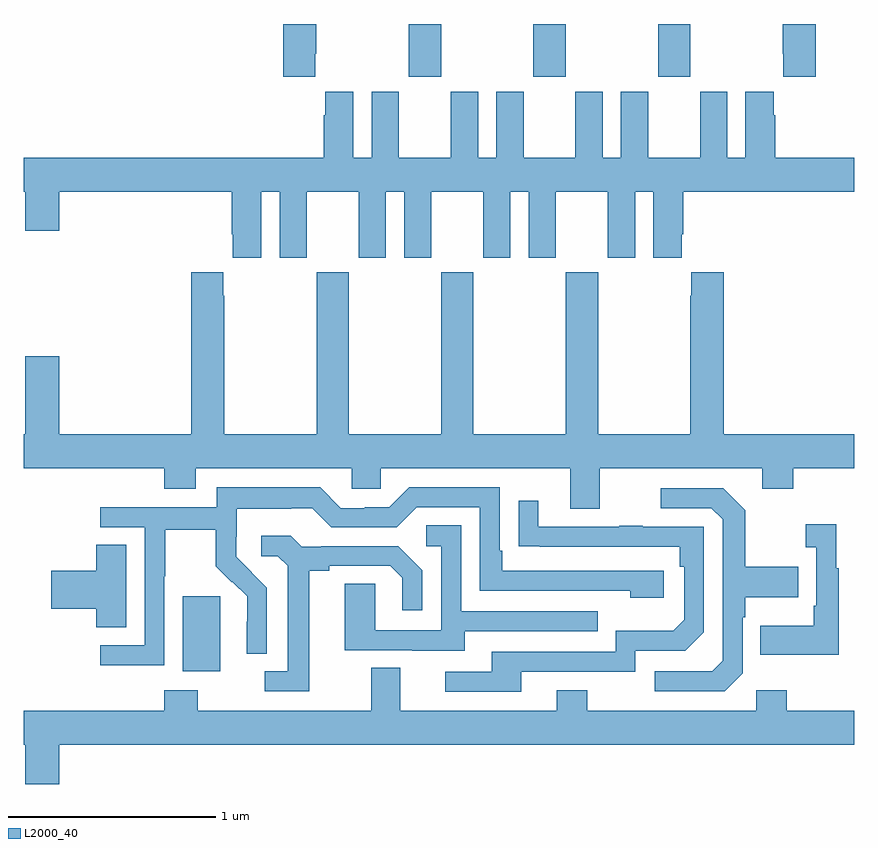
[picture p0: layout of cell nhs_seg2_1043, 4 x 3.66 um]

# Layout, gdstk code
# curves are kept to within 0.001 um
import gdstk
lib = gdstk.Library(unit=1e-6, precision=1e-09)
def R(c, l, rs):  # rectangles x0, y0, x1, y1
    for r in rs: c.add(gdstk.rectangle(r[:2], r[2:], *l))
def A(c, l, x, y, w, h, nx, ny, dx, dy):  # array of equal rectangles
    R(c, l, [(x+i*dx, y+j*dy, x+i*dx+w, y+j*dy+h) for i in range(nx) for j in range(ny)])
def P(c, l, *ps):  # polygons
    for p in ps: c.add(gdstk.Polygon(p, *l))
L2000_40 = (2000, 40)

nhs_seg2_1043 = lib.new_cell('nhs_seg2_1043')
A(nhs_seg2_1043, L2000_40, 166.855, 625.545, 0.155, 0.255, 3, 1, 0.6, 0)
R(nhs_seg2_1043, L2000_40, [(165.767,622.682,165.946,623.043)])
P(nhs_seg2_1043, L2000_40, [(168.815,625.8),(168.655,625.8),(168.655,625.657),(168.659,625.657),(168.659,625.545),(168.815,625.545)],
  [(166.405,625.657),(166.41,625.657),(166.41,625.8),(166.25,625.8),(166.25,625.545),(166.405,625.545)],
  [(166.144,624.992),(166.232,624.992),(166.232,624.675),(166.363,624.675),(166.363,624.992),(166.613,624.992),(166.613,624.675),(166.744,624.675),(166.744,624.992),(166.832,624.992),(166.832,624.675),(166.963,624.675),(166.963,624.992),(167.213,624.992),(167.213,624.675),(167.344,624.675),(167.344,624.992),(167.432,624.992),(167.432,624.675),(167.563,624.675),(167.563,624.992),(167.813,624.992),(167.813,624.675),(167.944,624.675),(167.944,624.992),(168.032,624.992),(168.032,624.675),(168.169,624.675),(168.169,624.787),(168.176,624.787),(168.176,624.992),(169,624.992),(169,625.156),(168.62,625.156),(168.62,625.361),(168.613,625.361),(168.613,625.474),(168.476,625.474),(168.476,625.156),(168.388,625.156),(168.388,625.474),(168.257,625.474),(168.257,625.156),(168.007,625.156),(168.007,625.474),(167.876,625.474),(167.876,625.156),(167.788,625.156),(167.788,625.474),(167.657,625.474),(167.657,625.156),(167.407,625.156),(167.407,625.474),(167.276,625.474),(167.276,625.156),(167.188,625.156),(167.188,625.474),(167.057,625.474),(167.057,625.156),(166.807,625.156),(166.807,625.474),(166.676,625.474),(166.676,625.156),(166.588,625.156),(166.588,625.474),(166.451,625.474),(166.451,625.361),(166.445,625.361),(166.445,625.156),(165,625.156),(165,624.992),(165.008,624.992),(165.008,624.804),(165.172,624.804),(165.172,624.992),(166.001,624.992),(166.001,624.787),(166.007,624.787),(166.007,624.675),(166.144,624.675)],
  [(167.773,623.66),(168.557,623.66),(168.557,623.561),(168.705,623.561),(168.705,623.66),(169,623.66),(169,623.824),(168.371,623.824),(168.371,624.604),(168.215,624.604),(168.215,624.491),(168.211,624.491),(168.211,623.824),(167.766,623.824),(167.766,624.604),(167.611,624.604),(167.611,623.824),(167.166,623.824),(167.166,624.604),(167.011,624.604),(167.011,623.824),(166.566,623.824),(166.566,624.604),(166.411,624.604),(166.411,623.824),(165.966,623.824),(165.966,624.491),(165.961,624.491),(165.961,624.604),(165.806,624.604),(165.806,623.824),(165.172,623.824),(165.172,624.199),(165.008,624.199),(165.008,623.824),(165,623.824),(165,623.66),(165.677,623.66),(165.677,623.561),(165.829,623.561),(165.829,623.66),(166.581,623.66),(166.581,623.562),(166.719,623.562),(166.719,623.66),(167.633,623.66),(167.633,623.466),(167.773,623.466)],
  [(165.678,623.14),(165.681,623.14),(165.681,623.364),(165.925,623.364),(165.925,623.189),(166.002,623.112),(166.005,623.115),(166.076,623.045),(166.076,622.922),(166.074,622.922),(166.074,622.768),(166.17,622.768),(166.17,623.086),(166.024,623.234),(166.024,623.331),(166.026,623.331),(166.026,623.465),(166.289,623.465),(166.289,623.469),(166.389,623.469),(166.482,623.376),(166.797,623.376),(166.893,623.472),(167.196,623.472),(167.196,623.07),(167.921,623.07),(167.921,623.036),(168.082,623.036),(168.082,623.166),(167.305,623.166),(167.305,623.263),(167.292,623.263),(167.292,623.568),(166.857,623.568),(166.761,623.472),(166.643,623.472),(166.643,623.469),(166.527,623.469),(166.427,623.569),(165.93,623.569),(165.93,623.472),(165.369,623.472),(165.369,623.376),(165.582,623.376),(165.582,622.809),(165.369,622.809),(165.369,622.711),(165.678,622.711)],
  [(168.462,622.674),(168.462,622.943),(168.475,622.943),(168.475,623.039),(168.731,623.039),(168.731,623.187),(168.475,623.187),(168.475,623.459),(168.369,623.565),(168.069,623.565),(168.069,623.469),(168.312,623.469),(168.366,623.415),(168.366,622.734),(168.315,622.683),(168.039,622.683),(168.039,622.587),(168.375,622.587)],
  [(167.395,622.68),(167.946,622.68),(167.946,622.782),(168.186,622.782),(168.276,622.872),(168.276,623.379),(167.981,623.379),(167.981,623.384),(167.869,623.384),(167.869,623.379),(167.479,623.379),(167.479,623.503),(167.383,623.503),(167.383,623.284),(168.16,623.283),(168.16,623.186),(168.18,623.186),(168.18,622.932),(168.127,622.879),(167.85,622.879),(167.85,622.776),(167.255,622.776),(167.255,622.68),(167.031,622.68),(167.031,622.584),(167.395,622.584)],
  [(168.925,623.179),(168.913,623.179),(168.913,623.392),(168.765,623.392),(168.765,623.279),(168.816,623.279),(168.816,622.999),(168.804,622.999),(168.804,622.903),(168.547,622.903),(168.547,622.763),(168.925,622.763)],
  [(167.125,622.875),(167.765,622.875),(167.765,622.971),(167.106,622.971),(167.106,623.387),(166.938,623.387),(166.938,623.286),(167.01,623.286),(167.01,622.881),(166.692,622.881),(166.692,623.105),(166.547,623.105),(166.547,622.785),(166.871,622.785),(166.871,622.781),(167.125,622.781)],
  [(166.375,623.168),(166.471,623.168),(166.471,623.19),(166.766,623.19),(166.823,623.133),(166.823,622.977),(166.92,622.977),(166.92,623.17),(166.804,623.286),(166.432,623.286),(166.432,623.283),(166.338,623.283),(166.286,623.335),(166.143,623.335),(166.143,623.238),(166.224,623.238),(166.271,623.191),(166.271,622.683),(166.161,622.683),(166.161,622.587),(166.375,622.587)],
  [(165.493,623.291),(165.35,623.291),(165.35,623.168),(165.132,623.168),(165.132,622.985),(165.35,622.985),(165.35,622.894),(165.493,622.894)],
  [(165.172,622.328),(169,622.328),(169,622.492),(168.675,622.492),(168.675,622.591),(168.528,622.591),(168.528,622.492),(167.715,622.492),(167.715,622.591),(167.567,622.591),(167.567,622.492),(166.813,622.492),(166.813,622.7),(166.673,622.7),(166.673,622.492),(165.837,622.492),(165.837,622.591),(165.677,622.591),(165.677,622.492),(165,622.492),(165,622.328),(165.008,622.328),(165.008,622.14),(165.172,622.14)])

lib.write_gds('nhs_seg2_1043.gds')
